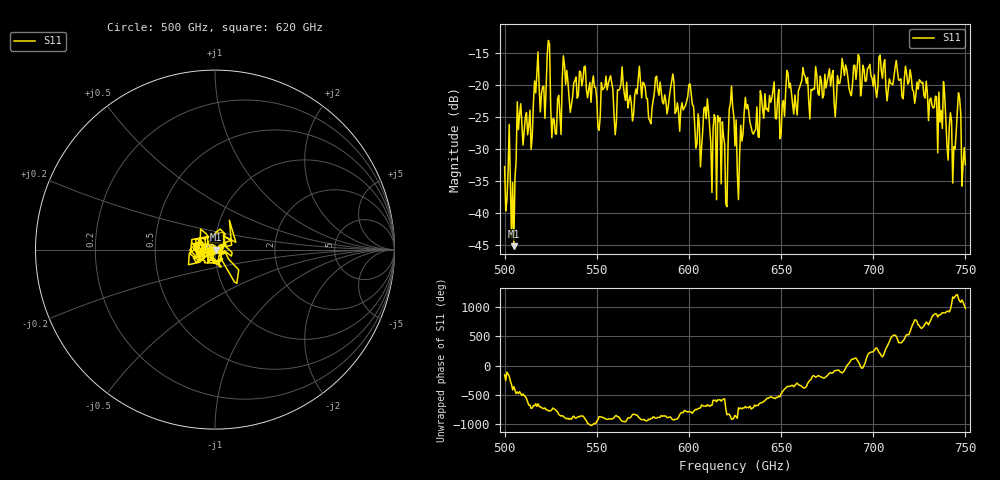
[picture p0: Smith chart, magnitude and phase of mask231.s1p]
!Created with skrf (http://scikit-rf.org).
# GHz S MA R 50.0
!freq magS11 angS11
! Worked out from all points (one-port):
!   401 points, 500 GHz to 750 GHz, reference 50 ohm
!   lowest |S11| = -45.2 dB at 505 GHz (marker M1), VSWR 1.01, Z = 50.6 - j0.013 ohm
!   |S11| at or under -10 dB: start of sweep to end of sweep
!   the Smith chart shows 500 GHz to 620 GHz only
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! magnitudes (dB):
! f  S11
! 500 GHz  -32.7
! 505 GHz  -45.2
! 508.1 GHz  -24.6
! 513.8 GHz  -23.9
! 516.9 GHz  -21.2
! 523.8 GHz  -13.0
! 526.9 GHz  -25.4
! 531.2 GHz  -19.1
! 556.2 GHz  -19.7
! 560.6 GHz  -25.9
! 562.5 GHz  -20.6
! 579.4 GHz  -26.0
! 590.6 GHz  -19.4
! 593.8 GHz  -22.8
! 600.6 GHz  -19.8
! 605.6 GHz  -26.1
! 609.4 GHz  -25.2
! 620 GHz  -38.6
! 623.1 GHz  -20.2
! 625 GHz  -29.5
! 627.5 GHz  -31.0
! 631.2 GHz  -23.7
! 656.2 GHz  -23.0
! 687.5 GHz  -21.2
! 718.8 GHz  -19.8
! 743.8 GHz  -29.6
! 746.2 GHz  -21.2
! 750 GHz  -32.5
